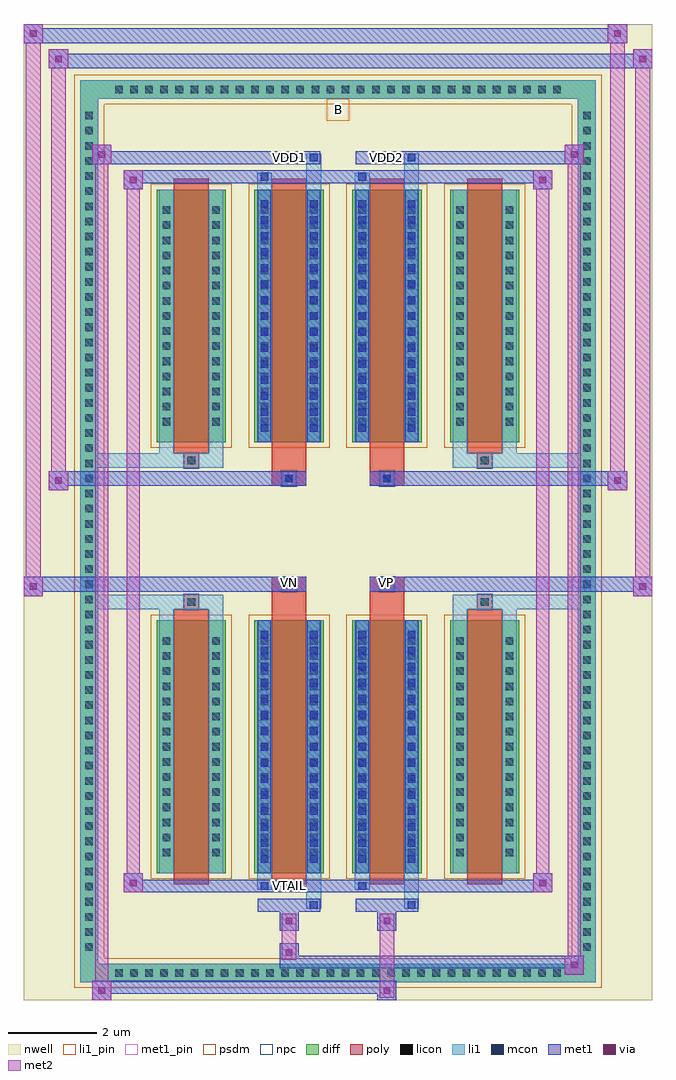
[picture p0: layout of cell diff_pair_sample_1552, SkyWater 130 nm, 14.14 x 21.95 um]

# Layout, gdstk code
import gdstk
lib = gdstk.Library(unit=1e-6, precision=5e-09)
def R(c, l, rs):  # rectangles x0, y0, x1, y1
    for r in rs: c.add(gdstk.rectangle(r[:2], r[2:], *l))
def A(c, l, x, y, w, h, nx, ny, dx, dy):  # array of equal rectangles
    R(c, l, [(x+i*dx, y+j*dy, x+i*dx+w, y+j*dy+h) for i in range(nx) for j in range(ny)])
def P(c, l, *ps):  # polygons
    for p in ps: c.add(gdstk.Polygon(p, *l))
nwell = (64, 20)
diff = (65, 20)
poly = (66, 20)
licon = (66, 44)
li1_pin = (67, 16)
li1 = (67, 20)
mcon = (67, 44)
met1_pin = (68, 16)
met1 = (68, 20)
via = (68, 44)
met2 = (69, 20)
psdm = (94, 20)
npc = (95, 20)

diff_pair_sample_1552 = lib.new_cell('diff_pair_sample_1552')
R(diff_pair_sample_1552, nwell, [(-7.07,-10.54,7.07,11.41), (-4.39,-8.73,-0.01,-0.825), (0.01,-8.73,4.39,-0.825), (-4.39,0.825,-0.01,8.73), (0.01,0.825,4.39,8.73)])
A(diff_pair_sample_1552, diff, -5.135, -10.14, 0.41, 0.41, 30, 2, 0.34, 19.87)
A(diff_pair_sample_1552, diff, -5.8, -9.555, 0.41, 0.41, 1, 56, 0, 0.34)
A(diff_pair_sample_1552, diff, 5.39, -9.555, 0.41, 0.41, 1, 56, 0, 0.34)
A(diff_pair_sample_1552, diff, -4.08, -7.685, 1.56, 5.68, 4, 2, 2.2, 9.69)
R(diff_pair_sample_1552, diff, [(-5.135,-10.14,5.135,-9.73), (-5.8,-9.555,-5.39,9.555), (5.39,-9.555,5.8,9.555), (-5.135,9.73,5.135,10.14)])
P(diff_pair_sample_1552, diff, [(5.8,10.14),(-5.8,10.14),(-5.8,-9.73),(-5.39,-9.73),(-5.39,9.73),(5.39,9.73),(5.39,-9.73),(-5.39,-9.73),(-5.8,-9.73),(-5.8,-10.14),(5.8,-10.14)])
A(diff_pair_sample_1552, poly, -3.69, -7.935, 0.78, 6.18, 4, 2, 2.2, 9.69)
R(diff_pair_sample_1552, poly, [(-3.465,-1.755,-3.135,-1.425), (-3.465,-1.755,-3.135,-1.425), (-1.49,-1.755,-0.71,-1.355), (0.71,-1.755,1.49,-1.355), (3.135,-1.755,3.465,-1.425), (3.135,-1.755,3.465,-1.425), (-1.49,-1.355,-0.71,-1.025), (-1.265,-1.355,-0.935,-1.025), (0.71,-1.355,1.49,-1.025), (0.935,-1.355,1.265,-1.025), (-1.49,1.025,-0.71,1.355), (-1.265,1.025,-0.935,1.355), (0.71,1.025,1.49,1.355), (0.935,1.025,1.265,1.355), (-1.49,1.355,-0.71,1.755), (0.71,1.355,1.49,1.755), (-3.465,1.425,-3.135,1.755), (-3.465,1.425,-3.135,1.755), (3.135,1.425,3.465,1.755), (3.135,1.425,3.465,1.755)])
A(diff_pair_sample_1552, licon, -5.015, -10.02, 0.17, 0.17, 30, 2, 0.34, 19.87)
A(diff_pair_sample_1552, licon, -5.68, -9.435, 0.17, 0.17, 1, 56, 0, 0.34)
A(diff_pair_sample_1552, licon, 5.51, -9.435, 0.17, 0.17, 1, 56, 0, 0.34)
A(diff_pair_sample_1552, licon, -3.94, -7.31, 0.17, 0.17, 1, 15, 0, 0.34)
A(diff_pair_sample_1552, licon, -2.83, -7.31, 0.17, 0.17, 1, 15, 0, 0.34)
A(diff_pair_sample_1552, licon, -1.74, -7.31, 0.17, 0.17, 1, 15, 0, 0.34)
A(diff_pair_sample_1552, licon, -0.63, -7.31, 0.17, 0.17, 1, 15, 0, 0.34)
A(diff_pair_sample_1552, licon, 0.46, -7.31, 0.17, 0.17, 1, 15, 0, 0.34)
A(diff_pair_sample_1552, licon, 1.57, -7.31, 0.17, 0.17, 1, 15, 0, 0.34)
A(diff_pair_sample_1552, licon, 2.66, -7.31, 0.17, 0.17, 1, 15, 0, 0.34)
A(diff_pair_sample_1552, licon, 3.77, -7.31, 0.17, 0.17, 1, 15, 0, 0.34)
A(diff_pair_sample_1552, licon, -3.94, 2.38, 0.17, 0.17, 1, 15, 0, 0.34)
A(diff_pair_sample_1552, licon, -2.83, 2.38, 0.17, 0.17, 1, 15, 0, 0.34)
A(diff_pair_sample_1552, licon, -1.74, 2.38, 0.17, 0.17, 1, 15, 0, 0.34)
A(diff_pair_sample_1552, licon, -0.63, 2.38, 0.17, 0.17, 1, 15, 0, 0.34)
A(diff_pair_sample_1552, licon, 0.46, 2.38, 0.17, 0.17, 1, 15, 0, 0.34)
A(diff_pair_sample_1552, licon, 1.57, 2.38, 0.17, 0.17, 1, 15, 0, 0.34)
A(diff_pair_sample_1552, licon, 2.66, 2.38, 0.17, 0.17, 1, 15, 0, 0.34)
A(diff_pair_sample_1552, licon, 3.77, 2.38, 0.17, 0.17, 1, 15, 0, 0.34)
R(diff_pair_sample_1552, licon, [(-3.385,-1.675,-3.215,-1.505), (3.215,-1.675,3.385,-1.505), (-1.185,-1.275,-1.015,-1.105), (1.015,-1.275,1.185,-1.105), (-1.185,1.105,-1.015,1.275), (1.015,1.105,1.185,1.275), (-3.385,1.505,-3.215,1.675), (3.215,1.505,3.385,1.675)])
R(diff_pair_sample_1552, li1_pin, [(-0.25,9.23,0.25,9.73)])
A(diff_pair_sample_1552, li1, -5.095, -10.1, 0.33, 0.33, 30, 2, 0.34, 19.87)
A(diff_pair_sample_1552, li1, -5.76, -9.515, 0.33, 0.33, 1, 56, 0, 0.34)
A(diff_pair_sample_1552, li1, 5.43, -9.515, 0.33, 0.33, 1, 56, 0, 0.34)
A(diff_pair_sample_1552, li1, -1.74, -7.45, 0.17, 0.17, 1, 15, 0, 0.36)
A(diff_pair_sample_1552, li1, -0.63, -7.45, 0.17, 0.17, 1, 15, 0, 0.36)
A(diff_pair_sample_1552, li1, 0.46, -7.45, 0.17, 0.17, 1, 15, 0, 0.36)
A(diff_pair_sample_1552, li1, 1.57, -7.45, 0.17, 0.17, 1, 15, 0, 0.36)
A(diff_pair_sample_1552, li1, -4.02, -7.39, 0.33, 0.33, 1, 15, 0, 0.34)
A(diff_pair_sample_1552, li1, -2.91, -7.39, 0.33, 0.33, 1, 15, 0, 0.34)
A(diff_pair_sample_1552, li1, -1.82, -7.39, 0.33, 0.33, 1, 15, 0, 0.34)
A(diff_pair_sample_1552, li1, -0.71, -7.39, 0.33, 0.33, 1, 15, 0, 0.34)
A(diff_pair_sample_1552, li1, 0.38, -7.39, 0.33, 0.33, 1, 15, 0, 0.34)
A(diff_pair_sample_1552, li1, 1.49, -7.39, 0.33, 0.33, 1, 15, 0, 0.34)
A(diff_pair_sample_1552, li1, 2.58, -7.39, 0.33, 0.33, 1, 15, 0, 0.34)
A(diff_pair_sample_1552, li1, 3.69, -7.39, 0.33, 0.33, 1, 15, 0, 0.34)
A(diff_pair_sample_1552, li1, -1.74, 2.24, 0.17, 0.17, 1, 15, 0, 0.36)
A(diff_pair_sample_1552, li1, -0.63, 2.24, 0.17, 0.17, 1, 15, 0, 0.36)
A(diff_pair_sample_1552, li1, 0.46, 2.24, 0.17, 0.17, 1, 15, 0, 0.36)
A(diff_pair_sample_1552, li1, 1.57, 2.24, 0.17, 0.17, 1, 15, 0, 0.36)
A(diff_pair_sample_1552, li1, -4.02, 2.3, 0.33, 0.33, 1, 15, 0, 0.34)
A(diff_pair_sample_1552, li1, -2.91, 2.3, 0.33, 0.33, 1, 15, 0, 0.34)
A(diff_pair_sample_1552, li1, -1.82, 2.3, 0.33, 0.33, 1, 15, 0, 0.34)
A(diff_pair_sample_1552, li1, -0.71, 2.3, 0.33, 0.33, 1, 15, 0, 0.34)
A(diff_pair_sample_1552, li1, 0.38, 2.3, 0.33, 0.33, 1, 15, 0, 0.34)
A(diff_pair_sample_1552, li1, 1.49, 2.3, 0.33, 0.33, 1, 15, 0, 0.34)
A(diff_pair_sample_1552, li1, 2.58, 2.3, 0.33, 0.33, 1, 15, 0, 0.34)
A(diff_pair_sample_1552, li1, 3.69, 2.3, 0.33, 0.33, 1, 15, 0, 0.34)
R(diff_pair_sample_1552, li1, [(-5.8,-10.14,-5.39,-9.73), (-5.8,-10.14,-5.39,-9.73), (-5.39,-10.14,5.39,-9.73), (5.39,-10.14,5.8,-9.73), (5.39,-10.14,5.8,-9.73), (-5.8,-9.73,-5.39,9.73), (5.39,-9.73,5.8,9.73), (-0.71,-8.49,-0.38,-7.685), (-0.63,-8.49,-0.46,-8.32), (1.49,-8.49,1.82,-7.685), (1.57,-8.49,1.74,-8.32), (-1.82,-8.06,-1.49,-7.685), (-1.74,-8.06,-1.57,-7.89), (0.38,-8.06,0.71,-7.685), (0.46,-8.06,0.63,-7.89), (-4.02,-7.685,-3.69,-2.005), (-2.91,-7.685,-2.58,-2.005), (-1.82,-7.685,-1.49,-2.005), (-0.71,-7.685,-0.38,-2.005), (0.38,-7.685,0.71,-2.005), (1.49,-7.685,1.82,-2.005), (2.58,-7.685,2.91,-2.005), (3.69,-7.685,4.02,-2.005), (-1.74,-7.45,-1.57,-2.24), (-0.63,-7.45,-0.46,-2.24), (0.46,-7.45,0.63,-2.24), (1.57,-7.45,1.74,-2.24), (-4.02,-2.005,-3.69,-1.425), (-2.91,-2.005,-2.58,-1.425), (2.58,-2.005,2.91,-1.425), (3.69,-2.005,4.02,-1.425), (-5.8,-1.755,-3.465,-1.425), (-4.02,-1.755,-3.465,-1.425), (-3.465,-1.755,-3.135,-1.425), (-3.135,-1.755,-2.58,-1.425), (2.58,-1.755,3.135,-1.425), (3.135,-1.755,3.465,-1.425), (3.135,-1.755,5.8,-1.425), (3.465,-1.755,4.02,-1.425), (-1.265,-1.355,-0.935,-1.025), (0.935,-1.355,1.265,-1.025), (-1.265,1.025,-0.935,1.355), (0.935,1.025,1.265,1.355), (-5.8,1.425,-3.465,1.755), (-4.02,1.425,-3.465,1.755), (-4.02,1.425,-3.69,2.005), (-3.465,1.425,-3.135,1.755), (-3.135,1.425,-2.58,1.755), (-2.91,1.425,-2.58,2.005), (2.58,1.425,3.135,1.755), (2.58,1.425,2.91,2.005), (3.135,1.425,3.465,1.755), (3.135,1.425,5.8,1.755), (3.465,1.425,4.02,1.755), (3.69,1.425,4.02,2.005), (-4.02,2.005,-3.69,7.685), (-2.91,2.005,-2.58,7.685), (-1.82,2.005,-1.49,7.685), (-0.71,2.005,-0.38,7.685), (0.38,2.005,0.71,7.685), (1.49,2.005,1.82,7.685), (2.58,2.005,2.91,7.685), (3.69,2.005,4.02,7.685), (-1.74,2.24,-1.57,7.45), (-0.63,2.24,-0.46,7.45), (0.46,2.24,0.63,7.45), (1.57,2.24,1.74,7.45), (-1.82,7.685,-1.49,8.06), (-0.71,7.685,-0.38,8.49), (0.38,7.685,0.71,8.06), (1.49,7.685,1.82,8.49), (-1.74,7.89,-1.57,8.06), (0.46,7.89,0.63,8.06), (-0.63,8.32,-0.46,8.49), (1.57,8.32,1.74,8.49), (-5.8,9.73,-5.39,10.14), (-5.8,9.73,-5.39,10.14), (-5.39,9.73,5.39,10.14), (5.39,9.73,5.8,10.14), (5.39,9.73,5.8,10.14)])
A(diff_pair_sample_1552, mcon, -1.74, -7.45, 0.17, 0.17, 1, 15, 0, 0.36)
A(diff_pair_sample_1552, mcon, -0.63, -7.45, 0.17, 0.17, 1, 15, 0, 0.36)
A(diff_pair_sample_1552, mcon, 0.46, -7.45, 0.17, 0.17, 1, 15, 0, 0.36)
A(diff_pair_sample_1552, mcon, 1.57, -7.45, 0.17, 0.17, 1, 15, 0, 0.36)
A(diff_pair_sample_1552, mcon, -1.74, 2.24, 0.17, 0.17, 1, 15, 0, 0.36)
A(diff_pair_sample_1552, mcon, -0.63, 2.24, 0.17, 0.17, 1, 15, 0, 0.36)
A(diff_pair_sample_1552, mcon, 0.46, 2.24, 0.17, 0.17, 1, 15, 0, 0.36)
A(diff_pair_sample_1552, mcon, 1.57, 2.24, 0.17, 0.17, 1, 15, 0, 0.36)
R(diff_pair_sample_1552, mcon, [(-0.63,-8.49,-0.46,-8.32), (1.57,-8.49,1.74,-8.32), (-1.74,-8.06,-1.57,-7.89), (0.46,-8.06,0.63,-7.89), (-1.185,-1.275,-1.015,-1.105), (1.015,-1.275,1.185,-1.105), (-1.185,1.105,-1.015,1.275), (1.015,1.105,1.185,1.275), (-1.74,7.89,-1.57,8.06), (0.46,7.89,0.63,8.06), (-0.63,8.32,-0.46,8.49), (1.57,8.32,1.74,8.49)])
R(diff_pair_sample_1552, met1_pin, [(-1.235,-8.1,-0.965,-7.83), (-1.235,-1.295,-0.965,-1.025), (0.965,-1.295,1.235,-1.025), (-1.235,8.28,-0.965,8.55), (0.965,8.28,1.235,8.55)])
A(diff_pair_sample_1552, met1, -1.8, -7.51, 0.29, 0.29, 1, 15, 0, 0.36)
A(diff_pair_sample_1552, met1, -0.69, -7.51, 0.29, 0.29, 1, 15, 0, 0.36)
A(diff_pair_sample_1552, met1, 0.4, -7.51, 0.29, 0.29, 1, 15, 0, 0.36)
A(diff_pair_sample_1552, met1, 1.51, -7.51, 0.29, 0.29, 1, 15, 0, 0.36)
A(diff_pair_sample_1552, met1, -1.8, 2.18, 0.29, 0.29, 1, 15, 0, 0.36)
A(diff_pair_sample_1552, met1, -0.69, 2.18, 0.29, 0.29, 1, 15, 0, 0.36)
A(diff_pair_sample_1552, met1, 0.4, 2.18, 0.29, 0.29, 1, 15, 0, 0.36)
A(diff_pair_sample_1552, met1, 1.51, 2.18, 0.29, 0.29, 1, 15, 0, 0.36)
R(diff_pair_sample_1552, met1, [(-5.53,-10.54,-5.1,-10.11), (0.885,-10.54,1.315,-10.11), (-5.53,-10.4,1.315,-10.11), (5.1,-9.97,5.53,-9.54), (-1.315,-9.83,5.53,-9.54), (-1.315,-9.69,-0.885,-9.26), (-1.315,-8.98,-0.885,-8.55), (0.885,-8.98,1.315,-8.55), (-1.8,-8.55,-0.4,-8.26), (-0.69,-8.55,-0.4,-8.26), (0.4,-8.55,1.8,-8.26), (1.51,-8.55,1.8,-8.26), (-4.82,-8.12,-4.39,-7.69), (-4.82,-8.12,-1.8,-7.83), (-1.8,-8.12,-1.51,-7.83), (-1.8,-8.12,-0.4,-7.83), (-0.4,-8.12,0.4,-7.83), (0.4,-8.12,0.69,-7.83), (0.4,-8.12,1.8,-7.83), (1.8,-8.12,4.82,-7.83), (4.39,-8.12,4.82,-7.69), (-1.8,-7.685,-1.51,-2.005), (-0.69,-7.685,-0.4,-2.005), (0.4,-7.685,0.69,-2.005), (1.51,-7.685,1.8,-2.005), (-7.07,-1.455,-6.64,-1.025), (6.64,-1.455,7.07,-1.025), (-7.07,-1.355,-0.71,-1.025), (-1.49,-1.355,-0.71,-1.025), (0.71,-1.355,1.49,-1.025), (0.71,-1.355,7.07,-1.025), (-1.245,-1.335,-0.955,-1.045), (0.955,-1.335,1.245,-1.045), (-6.5,0.925,-6.07,1.355), (6.07,0.925,6.5,1.355), (-6.5,1.025,-1.49,1.355), (-1.49,1.025,-0.71,1.355), (0.71,1.025,1.49,1.355), (1.49,1.025,6.5,1.355), (-1.245,1.045,-0.955,1.335), (0.955,1.045,1.245,1.335), (-1.8,2.005,-1.51,7.685), (-0.69,2.005,-0.4,7.685), (0.4,2.005,0.69,7.685), (1.51,2.005,1.8,7.685), (-4.82,7.69,-4.39,8.12), (4.39,7.69,4.82,8.12), (-4.82,7.83,-1.8,8.12), (-1.8,7.83,-1.51,8.12), (-1.8,7.83,-0.4,8.12), (-0.4,7.83,0.4,8.12), (0.4,7.83,0.69,8.12), (0.4,7.83,1.8,8.12), (1.8,7.83,4.82,8.12), (-5.53,8.26,-5.1,8.69), (-5.53,8.26,-1.8,8.55), (-1.8,8.26,-0.4,8.55), (-0.69,8.26,-0.4,8.55), (0.4,8.26,1.8,8.55), (1.51,8.26,1.8,8.55), (1.8,8.26,5.53,8.55), (5.1,8.26,5.53,8.69), (-6.5,10.41,-6.07,10.84), (-6.5,10.41,-4.39,10.74), (-4.39,10.41,4.39,10.74), (4.39,10.41,7.07,10.74), (6.64,10.41,7.07,10.84), (-7.07,10.98,-6.64,11.41), (-7.07,10.98,-4.39,11.31), (-4.39,10.98,4.39,11.31), (4.39,10.98,6.5,11.31), (6.07,10.98,6.5,11.41)])
R(diff_pair_sample_1552, via, [(-5.39,-10.4,-5.24,-10.25), (1.025,-10.4,1.175,-10.25), (5.24,-9.83,5.39,-9.68), (-1.175,-9.55,-1.025,-9.4), (-1.175,-8.84,-1.025,-8.69), (1.025,-8.84,1.175,-8.69), (-4.68,-7.98,-4.53,-7.83), (4.53,-7.98,4.68,-7.83), (-6.93,-1.315,-6.78,-1.165), (6.78,-1.315,6.93,-1.165), (-6.36,1.065,-6.21,1.215), (6.21,1.065,6.36,1.215), (-4.68,7.83,-4.53,7.98), (4.53,7.83,4.68,7.98), (-5.39,8.4,-5.24,8.55), (5.24,8.4,5.39,8.55), (-6.36,10.55,-6.21,10.7), (6.78,10.55,6.93,10.7), (-6.93,11.12,-6.78,11.27), (6.21,11.12,6.36,11.27)])
R(diff_pair_sample_1552, met2, [(-5.53,-10.54,-5.1,-10.11), (-5.46,-10.54,-5.17,8.69), (-5.17,-10.54,-5.1,-10.11), (-5.48,-10.49,-5.15,-10.16), (0.935,-10.49,1.265,-10.16), (0.935,-10.16,1.265,-8.93), (5.1,-9.97,5.53,-9.54), (5.17,-9.97,5.46,8.69), (5.46,-9.97,5.53,-9.54), (5.15,-9.92,5.48,-9.59), (-1.265,-9.64,-0.935,-9.31), (-1.265,-9.31,-0.935,-8.93), (-1.265,-8.93,-0.935,-8.6), (0.935,-8.93,1.265,-8.6), (-4.82,-8.12,-4.39,-7.69), (-4.75,-8.12,-4.46,8.12), (-4.46,-8.12,-4.39,-7.69), (4.39,-8.12,4.82,-7.69), (4.46,-8.12,4.75,8.12), (4.75,-8.12,4.82,-7.69), (-4.77,-8.07,-4.44,-7.74), (4.44,-8.07,4.77,-7.74), (-7.07,-1.455,-6.64,-1.025), (-7.02,-1.455,-6.69,11.41), (-6.69,-1.455,-6.64,-1.025), (6.64,-1.455,7.07,-1.025), (6.69,-1.455,7.02,10.84), (7.02,-1.455,7.07,-1.025), (-7.02,-1.405,-6.69,-1.075), (6.69,-1.405,7.02,-1.075), (-6.5,0.925,-6.07,1.355), (-6.45,0.925,-6.12,10.84), (-6.12,0.925,-6.07,1.355), (6.07,0.925,6.5,1.355), (6.12,0.925,6.45,11.41), (6.45,0.925,6.5,1.355), (-6.45,0.975,-6.12,1.305), (6.12,0.975,6.45,1.305), (-4.82,7.69,-4.39,8.12), (-4.46,7.69,-4.39,8.12), (4.39,7.69,4.82,8.12), (4.75,7.69,4.82,8.12), (-4.77,7.74,-4.44,8.07), (4.44,7.74,4.77,8.07), (-5.53,8.26,-5.1,8.69), (-5.17,8.26,-5.1,8.69), (5.1,8.26,5.53,8.69), (5.46,8.26,5.53,8.69), (-5.48,8.31,-5.15,8.64), (5.15,8.31,5.48,8.64), (-6.5,10.41,-6.07,10.84), (-6.12,10.41,-6.07,10.84), (6.64,10.41,7.07,10.84), (7.02,10.41,7.07,10.84), (-6.45,10.46,-6.12,10.79), (6.69,10.46,7.02,10.79), (-7.07,10.98,-6.64,11.41), (-6.69,10.98,-6.64,11.41), (6.07,10.98,6.5,11.41), (6.45,10.98,6.5,11.41), (-7.02,11.03,-6.69,11.36), (6.12,11.03,6.45,11.36)])
A(diff_pair_sample_1552, psdm, -4.21, -7.815, 1.82, 5.94, 4, 2, 2.2, 9.69)
P(diff_pair_sample_1552, psdm, [(5.93,10.27),(-5.93,10.27),(-5.93,-9.6),(-5.26,-9.6),(-5.26,9.6),(5.26,9.6),(5.26,-9.6),(-5.26,-9.6),(-5.93,-9.6),(-5.93,-10.27),(5.93,-10.27)])
R(diff_pair_sample_1552, npc, [(-3.485,-1.775,-3.115,-1.405), (3.115,-1.775,3.485,-1.405), (-1.285,-1.375,-0.915,-1.005), (0.915,-1.375,1.285,-1.005), (-1.285,1.005,-0.915,1.375), (0.915,1.005,1.285,1.375), (-3.485,1.405,-3.115,1.775), (3.115,1.405,3.485,1.775)])
diff_pair_sample_1552.add(gdstk.Label('VTAIL', (-1.1,-7.965), layer=68, texttype=5))
diff_pair_sample_1552.add(gdstk.Label('VN', (-1.1,-1.16), layer=68, texttype=5))
diff_pair_sample_1552.add(gdstk.Label('VP', (1.1,-1.16), layer=68, texttype=5))
diff_pair_sample_1552.add(gdstk.Label('B', (0,9.48), layer=67, texttype=5))
diff_pair_sample_1552.add(gdstk.Label('VDD2', (1.1,8.415), layer=68, texttype=5))
diff_pair_sample_1552.add(gdstk.Label('VDD1', (-1.1,8.415), layer=68, texttype=5))

lib.write_gds('diff_pair_sample_1552.gds')
